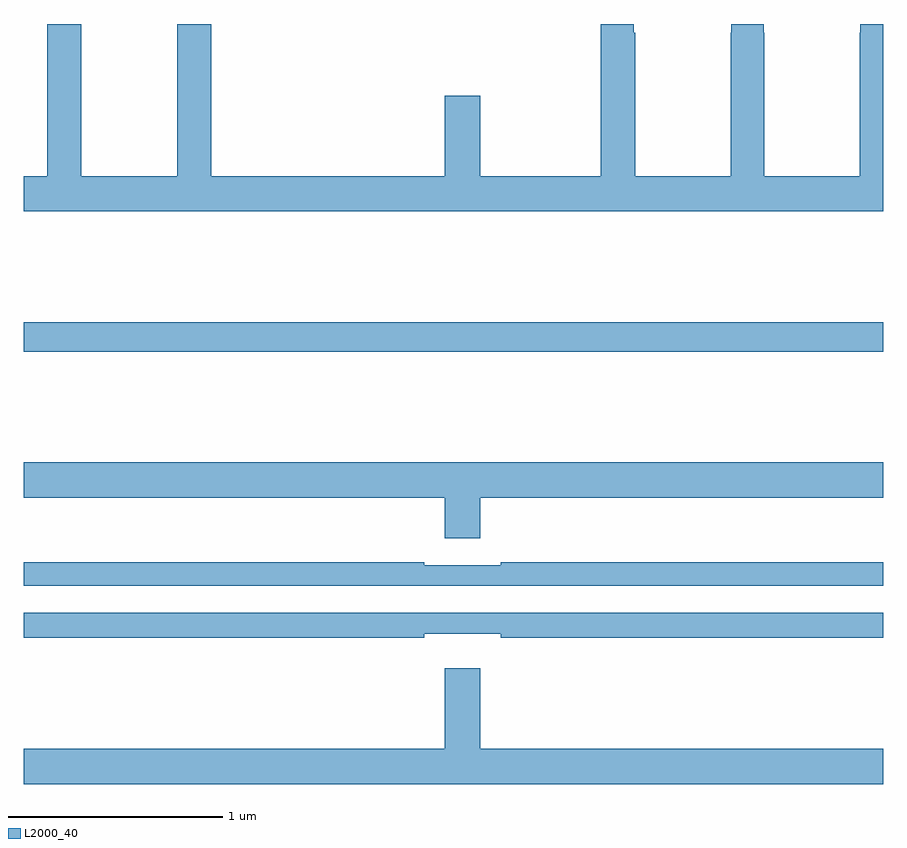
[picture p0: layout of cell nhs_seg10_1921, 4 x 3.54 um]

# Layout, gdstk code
import gdstk
lib = gdstk.Library(unit=1e-6, precision=1e-09)
def R(c, l, rs):  # rectangles x0, y0, x1, y1
    for r in rs: c.add(gdstk.rectangle(r[:2], r[2:], *l))
def P(c, l, *ps):  # polygons
    for p in ps: c.add(gdstk.Polygon(p, *l))
L2000_40 = (2000, 40)

nhs_seg10_1921 = lib.new_cell('nhs_seg10_1921')
R(nhs_seg10_1921, L2000_40, [(211,1320.976,215,1321.112)])
P(nhs_seg10_1921, L2000_40, [(215,1322.5),(214.893,1322.5),(214.893,1322.459),(214.891,1322.459),(214.891,1321.792),(214.446,1321.792),(214.446,1322.459),(214.443,1322.459),(214.443,1322.5),(214.293,1322.5),(214.293,1322.459),(214.291,1322.459),(214.291,1321.792),(213.846,1321.792),(213.846,1322.459),(213.839,1322.459),(213.839,1322.5),(213.686,1322.5),(213.686,1321.792),(213.124,1321.792),(213.124,1322.167),(212.96,1322.167),(212.96,1321.792),(211.874,1321.792),(211.874,1322.5),(211.714,1322.5),(211.714,1321.792),(211.269,1321.792),(211.269,1322.5),(211.109,1322.5),(211.109,1321.792),(211,1321.792),(211,1321.628),(215,1321.628)],
  [(213.124,1320.296),(215,1320.296),(215,1320.46),(211,1320.46),(211,1320.296),(212.96,1320.296),(212.96,1320.108),(213.124,1320.108)],
  [(215,1319.995),(213.22,1319.995),(213.22,1319.982),(212.864,1319.982),(212.864,1319.995),(211,1319.995),(211,1319.886),(215,1319.886)],
  [(212.864,1319.663),(213.22,1319.663),(213.22,1319.644),(215,1319.644),(215,1319.76),(211,1319.76),(211,1319.644),(212.864,1319.644)],
  [(215,1319.128),(213.124,1319.128),(213.124,1319.503),(212.96,1319.503),(212.96,1319.128),(211,1319.128),(211,1318.964),(215,1318.964)])

lib.write_gds('nhs_seg10_1921.gds')
